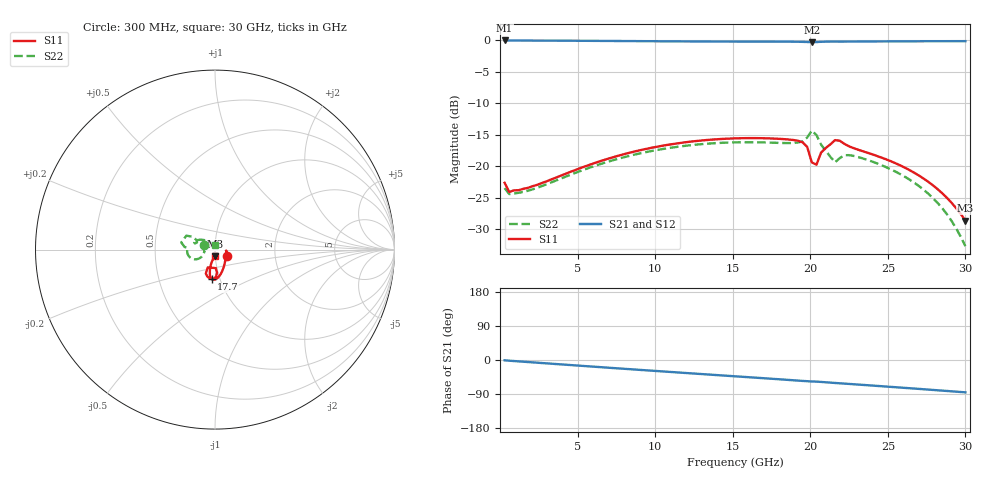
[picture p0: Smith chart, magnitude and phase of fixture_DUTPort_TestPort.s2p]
# Hz S MA R 50.0
!freq magS11 angS11 magS21 angS21 magS12 angS12 magS22 angS22
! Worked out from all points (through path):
!   100 points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, 300 MHz to 30 GHz, reference 50 ohm
!   highest |S21| = -0.03 dB at 300 MHz (marker M1); lowest = -0.3 dB at 20.1 GHz (marker M2)
!   group delay of S21, straight-line fit = 7.79 ps
!   lowest |S11| = -28.6 dB at 30 GHz (marker M3), VSWR 1.08, Z = 49.7 - j3.7 ohm
!   |S11| at or under -10 dB: start of sweep to end of sweep
!   |S22| runs from -32.7 to -14.3 dB; largest |S21 - S12| = 1.1e-09
!   S11 on the Smith chart (normalised r, x): 300 MHz: 1.14, -0.08; 17.7 GHz: 0.91, -0.31; 30 GHz: 0.99, -0.07
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3e8  0.07402 -26.4  0.9969 -0.8  0.9969 -0.8  0.06734 157.1
6e8  0.06266 -4.7  0.996 -1.8  0.996 -1.8  0.06034 -170.6
1.2e9  0.06474 -16.0  0.9953 -3.6  0.9953 -3.6  0.06175 -167.8
2.4e9  0.0714 -32.4  0.9943 -7.1  0.9943 -7.1  0.06766 -159.6
5.4e9  0.09908 -58.2  0.9905 -15.8  0.9905 -15.8  0.094 -150.9
7.8e9  0.1231 -70.2  0.9866 -22.6  0.9866 -22.6  0.1165 -152.6
1.02e10  0.1438 -78.5  0.9825 -29.4  0.9825 -29.4  0.1354 -157.8
1.53e10  0.167 -91.0  0.9766 -43.4  0.9766 -43.4  0.1552 -173.4
1.77e10  0.1661 -96.6  0.9755 -50.0  0.9755 -50.0  0.154 178.8
1.95e10  0.1553 -106.1  0.9718 -55.2  0.9718 -55.2  0.1579 175.5
1.98e10  0.1429 -111.0  0.9695 -56.0  0.9695 -56.0  0.1693 175.2
2.01e10  0.1077 -112.2  0.966 -56.6  0.966 -56.6  0.1922 168.1
2.04e10  0.1031 -87.6  0.9683 -57.1  0.9683 -57.1  0.1774 154.0
2.07e10  0.1287 -84.9  0.9731 -57.9  0.9731 -57.9  0.1487 150.8
2.16e10  0.1616 -91.1  0.9769 -60.6  0.9769 -60.6  0.1079 158.1
2.22e10  0.1509 -100.4  0.9766 -62.3  0.9766 -62.3  0.1227 161.5
2.25e10  0.1444 -101.3  0.9772 -63.1  0.9772 -63.1  0.1228 159.1
2.52e10  0.1098 -104.5  0.9806 -70.9  0.9806 -70.9  0.09471 144.6
2.67e10  0.0891 -105.3  0.9822 -75.4  0.9822 -75.4  0.07427 136.0
2.79e10  0.07088 -104.5  0.9833 -79.0  0.9833 -79.0  0.0562 127.2
2.91e10  0.0516 -100.8  0.984 -82.6  0.984 -82.6  0.03708 113.4
3e10  0.03723 -92.9  0.9843 -85.4  0.9843 -85.4  0.0233 92.0
